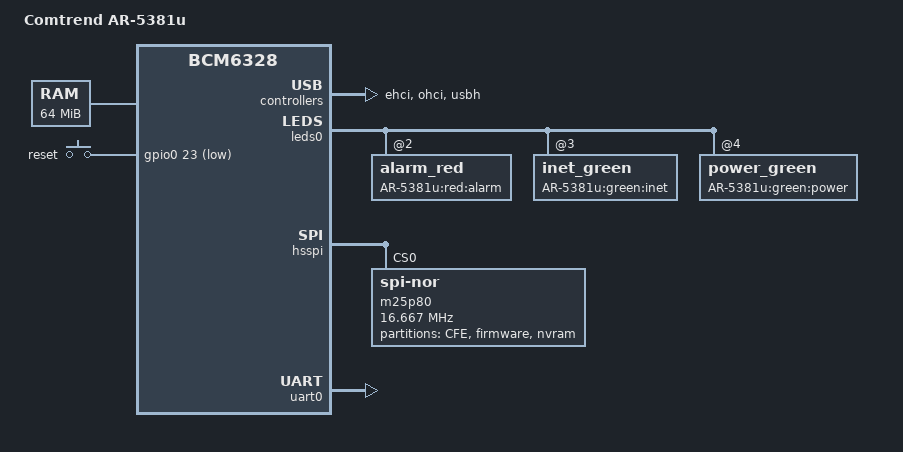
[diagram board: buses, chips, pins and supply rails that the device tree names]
/dts-v1/;

#include "bcm6328.dtsi"

/ {
	compatible = "comtrend,ar-5381u", "brcm,bcm6328";
	model = "Comtrend AR-5381u";

	chosen {
		bootargs = "console=ttyS0,115200 earlycon";
	};

	aliases {
		led-boot = &power_green;
		led-failsafe = &alarm_red;
		led-running = &power_green;

		led-dsl = &inet_green;
	};

	memory@0 {
		device_type = "memory";
		reg = <0x00000000 0x04000000>;
	};

	gpio-keys-polled {
		compatible = "gpio-keys-polled";
		#address-cells = <1>;
		#size-cells = <0>;
		poll-interval = <20>;
		debounce-interval = <60>;

		reset {
			label = "reset";
			gpios = <&gpio0 23 GPIO_ACTIVE_LOW>;
			linux,code = <KEY_RESTART>;
		};
	};
};

&ehci {
	status = "ok";
};

&leds0 {
	status = "ok";

	alarm_red: alarm_red@2 {
		reg = <2>;
		active-low;
		label = "AR-5381u:red:alarm";
	};
	inet_green: inet_green@3 {
		reg = <3>;
		active-low;
		label = "AR-5381u:green:inet";
	};
	power_green: power_green@4 {
		reg = <4>;
		active-low;
		label = "AR-5381u:green:power";
		default-state = "on";
	};
};

&ohci {
	status = "ok";
};

&hsspi {
	status = "okay";

	m25p80@0 {
		compatible = "jedec,spi-nor";
		reg = <0>;
		spi-max-frequency = <16666667>;
		spi-tx-bus-width = <2>;
		spi-rx-bus-width = <2>;

		partitions {
			compatible = "fixed-partitions";
			#address-cells = <1>;
			#size-cells = <1>;

			cfe@0 {
				label = "CFE";
				reg = <0x000000 0x010000>;
				read-only;
			};
			firmware@10000 {
				label = "firmware";
				reg = <0x010000 0xfe0000>;
			};
			nvram@ff0000 {
				label = "nvram";
				reg = <0xff0000 0x010000>;
				read-only;
			};
		};
	};
};

&uart0 {
	status = "ok";
};

&usbh {
	status = "ok";
};
